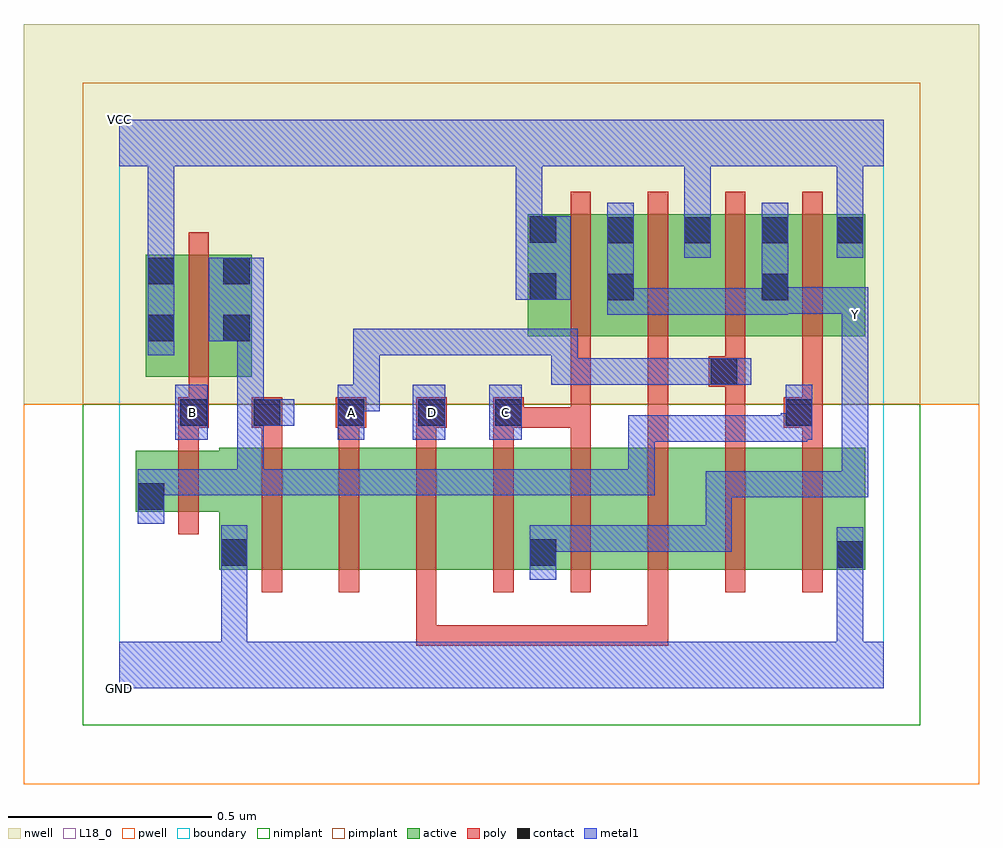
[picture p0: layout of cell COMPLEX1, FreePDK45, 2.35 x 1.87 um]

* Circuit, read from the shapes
.subckt COMPLEX1 A B C D GND VCC Y
M1 GND B n1 VSUBS nfet w=0.15u l=0.05u
M2 n2 n1 GND VSUBS nfet w=0.3u l=0.05u
M3 n3 A n2 VSUBS nfet w=0.3u l=0.05u
M4 n4 D n3 VSUBS nfet w=0.3u l=0.05u
M5 Y C n4 VSUBS nfet w=0.3u l=0.05u
M6 n5 C Y VSUBS nfet w=0.3u l=0.05u
M7 n6 D n5 VSUBS nfet w=0.3u l=0.05u
M8 n7 A n6 VSUBS nfet w=0.3u l=0.05u
M9 GND n1 n7 VSUBS nfet w=0.3u l=0.05u
M10 n1 B VCC n8 pfet w=0.3u l=0.05u
M11 Y C VCC n8 pfet w=0.3u l=0.05u
M12 VCC D Y n8 pfet w=0.3u l=0.05u
M13 Y A VCC n8 pfet w=0.3u l=0.05u
M14 VCC n1 Y n8 pfet w=0.3u l=0.05u
.ends

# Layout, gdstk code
import gdstk
lib = gdstk.Library(unit=1e-6, precision=1e-09)
def R(c, l, rs):  # rectangles x0, y0, x1, y1
    for r in rs: c.add(gdstk.rectangle(r[:2], r[2:], *l))
def A(c, l, x, y, w, h, nx, ny, dx, dy):  # array of equal rectangles
    R(c, l, [(x+i*dx, y+j*dy, x+i*dx+w, y+j*dy+h) for i in range(nx) for j in range(ny)])
active = (1, 0)
pwell = (2, 0)
nwell = (3, 0)
nimplant = (4, 0)
pimplant = (5, 0)
poly = (9, 0)
contact = (10, 0)
metal1 = (11, 0)
L18_0 = (18, 0)
boundary = (235, 0)

complex1 = lib.new_cell('COMPLEX1')
A(complex1, active, 1.005, 0.867, 0.265, 0.3, 3, 1, 0.19, 0)
R(complex1, active, [(0.245,0.292,0.47,0.592), (0.245,0.292,0.32,0.585), (0.47,0.292,0.66,0.592), (0.66,0.292,0.85,0.592), (0.85,0.292,1.08,0.592), (1.005,0.292,1.08,0.592), (1.005,0.292,1.23,0.592), (1.23,0.292,1.42,0.592), (1.42,0.292,1.61,0.592), (1.61,0.292,1.835,0.592), (1.76,0.292,1.835,0.592), (0.04,0.435,0.32,0.585), (0.04,0.435,0.115,0.585), (0.065,0.767,0.14,1.067), (0.065,0.767,0.325,1.067), (0.25,0.767,0.325,1.065), (1.005,0.867,1.08,1.167), (1.195,0.867,1.27,1.167), (1.575,0.867,1.65,1.167), (1.575,0.867,1.835,1.167), (1.76,0.867,1.835,1.165), (1.385,1.007,1.46,1.165)])
R(complex1, pwell, [(-0.235,-0.235,2.115,0.7)])
R(complex1, nwell, [(-0.235,0.7,2.115,1.635)])
R(complex1, nimplant, [(-0.09,-0.09,1.97,0.7)])
R(complex1, pimplant, [(-0.09,0.7,1.97,1.49)])
A(complex1, poly, 0.35, 0.237, 0.05, 0.41, 8, 1, 0.19, 0)
A(complex1, poly, 0.35, 0.597, 0.05, 0.095, 6, 1, 0.19, 0)
A(complex1, poly, 1.11, 0.812, 0.05, 0.41, 4, 1, 0.19, 0)
R(complex1, poly, [(0.73,0.105,0.78,0.155), (0.73,0.105,0.78,0.287), (0.73,0.105,1.027,0.155), (0.977,0.105,1.027,0.155), (0.977,0.105,1.027,0.155), (0.977,0.105,1.027,0.155), (0.977,0.105,1.16,0.155), (1.11,0.105,1.16,0.155), (1.11,0.105,1.16,0.155), (1.11,0.105,1.16,0.155), (1.11,0.105,1.35,0.155), (1.3,0.105,1.35,0.155), (1.3,0.105,1.35,0.155), (1.3,0.105,1.35,0.155), (1.3,0.105,1.35,0.287), (0.145,0.38,0.195,0.64), (0.145,0.59,0.195,0.692), (1.49,0.597,1.54,0.792), (1.68,0.597,1.73,0.692), (0.145,0.642,0.22,0.717), (0.325,0.642,0.4,0.717), (0.532,0.642,0.607,0.717), (0.73,0.642,0.805,0.717), (0.92,0.642,0.995,0.717), (0.945,0.642,1.16,0.692), (1.11,0.642,1.16,0.862), (1.11,0.642,1.16,0.692), (1.11,0.642,1.16,0.692), (1.11,0.642,1.16,0.692), (1.3,0.642,1.35,0.862), (1.3,0.642,1.35,0.692), (1.635,0.642,1.73,0.717), (0.17,0.667,0.22,0.762), (1.68,0.667,1.73,0.862), (0.17,0.712,0.22,1.122), (1.45,0.742,1.54,0.817), (1.49,0.767,1.54,0.862)])
A(complex1, contact, 1.2, 1.095, 0.065, 0.065, 3, 1, 0.19, 0)
R(complex1, contact, [(1.765,0.297,1.83,0.362), (0.25,0.302,0.315,0.367), (1.01,0.302,1.075,0.367), (0.045,0.44,0.11,0.505), (0.15,0.647,0.215,0.712), (0.33,0.647,0.395,0.712), (0.537,0.647,0.602,0.712), (0.735,0.647,0.8,0.712), (0.925,0.647,0.99,0.712), (1.64,0.647,1.705,0.712), (1.455,0.747,1.52,0.812), (0.07,0.855,0.135,0.92), (0.255,0.855,0.32,0.92), (1.2,0.955,1.265,1.02), (1.58,0.955,1.645,1.02), (1.01,0.957,1.075,1.022), (0.07,0.995,0.135,1.06), (0.255,0.995,0.32,1.06), (1.765,1.095,1.83,1.16), (1.01,1.097,1.075,1.162)])
R(complex1, metal1, [(0,0,1.88,0.115), (0.25,0.05,0.315,0.115), (0.25,0.05,0.315,0.115), (0.25,0.05,0.315,0.332), (1.765,0.05,1.83,0.115), (1.765,0.05,1.83,0.115), (1.765,0.05,1.83,0.327), (1.765,0.262,1.83,0.327), (1.765,0.262,1.83,0.327), (1.765,0.262,1.83,0.397), (0.25,0.267,0.315,0.332), (0.25,0.267,0.315,0.332), (0.25,0.267,0.315,0.402), (1.01,0.267,1.075,0.402), (1.01,0.337,1.127,0.402), (1.062,0.337,1.127,0.402), (1.062,0.337,1.317,0.402), (1.252,0.337,1.317,0.402), (1.252,0.337,1.317,0.402), (1.252,0.337,1.317,0.402), (1.252,0.337,1.507,0.402), (1.442,0.337,1.507,0.402), (1.442,0.337,1.507,0.402), (1.442,0.337,1.507,0.535), (0.045,0.405,0.11,0.54), (1.442,0.47,1.692,0.535), (1.627,0.47,1.692,0.535), (1.627,0.47,1.692,0.535), (1.627,0.47,1.692,0.535), (1.627,0.47,1.842,0.535), (1.777,0.47,1.842,0.535), (1.777,0.47,1.842,0.535), (1.777,0.47,1.842,0.535), (1.777,0.47,1.842,0.917), (0.045,0.475,0.11,0.54), (0.045,0.475,0.11,0.54), (0.045,0.475,0.355,0.54), (0.29,0.475,0.355,0.54), (0.29,0.475,0.355,0.54), (0.29,0.475,0.355,0.54), (0.29,0.475,0.502,0.54), (0.29,0.475,0.355,0.712), (0.437,0.475,0.502,0.54), (0.437,0.475,0.502,0.54), (0.437,0.475,0.502,0.54), (0.437,0.475,0.74,0.54), (0.675,0.475,0.74,0.54), (0.675,0.475,0.74,0.54), (0.675,0.475,0.74,0.54), (0.675,0.475,0.902,0.54), (0.837,0.475,0.902,0.54), (0.837,0.475,0.902,0.54), (0.837,0.475,0.902,0.54), (0.837,0.475,1.127,0.54), (1.062,0.475,1.127,0.54), (1.062,0.475,1.127,0.54), (1.062,0.475,1.127,0.54), (1.062,0.475,1.317,0.54), (1.252,0.475,1.317,0.54), (1.252,0.475,1.317,0.54), (1.252,0.475,1.317,0.672), (1.252,0.607,1.507,0.672), (1.442,0.607,1.507,0.672), (1.442,0.607,1.507,0.672), (1.442,0.607,1.507,0.672), (1.442,0.607,1.692,0.672), (1.627,0.607,1.692,0.672), (1.627,0.607,1.692,0.677), (0.137,0.612,0.217,0.747), (0.537,0.612,0.602,0.747), (0.722,0.612,0.802,0.747), (0.91,0.612,0.99,0.747), (1.627,0.612,1.692,0.677), (1.627,0.612,1.705,0.677), (1.64,0.612,1.705,0.747), (0.29,0.647,0.355,0.712), (0.29,0.647,0.36,0.712), (0.29,0.647,0.355,0.92), (0.295,0.647,0.43,0.712), (0.537,0.682,0.64,0.747), (0.575,0.682,0.64,0.747), (0.575,0.682,0.64,0.885), (1.062,0.747,1.127,0.812), (1.062,0.747,1.127,0.812), (1.062,0.747,1.127,0.812), (1.062,0.747,1.317,0.812), (1.062,0.747,1.127,0.885), (1.252,0.747,1.317,0.812), (1.252,0.747,1.317,0.812), (1.252,0.747,1.317,0.812), (1.252,0.747,1.485,0.812), (1.42,0.747,1.485,0.812), (1.42,0.747,1.485,0.812), (1.42,0.747,1.555,0.812), (0.07,0.82,0.135,1.095), (0.575,0.82,0.64,0.885), (0.575,0.82,0.74,0.885), (0.675,0.82,0.74,0.885), (0.675,0.82,0.902,0.885), (0.837,0.82,0.902,0.885), (0.837,0.82,0.902,0.885), (0.837,0.82,0.902,0.885), (0.837,0.82,1.127,0.885), (1.062,0.82,1.127,0.885), (1.777,0.852,1.842,0.987), (0.22,0.855,0.355,1.06), (1.2,0.92,1.265,0.985), (1.2,0.92,1.265,0.985), (1.2,0.92,1.455,0.985), (1.2,0.92,1.265,1.195), (1.39,0.92,1.455,0.985), (1.39,0.92,1.455,0.985), (1.39,0.92,1.455,0.985), (1.39,0.92,1.645,0.985), (1.58,0.92,1.645,1.195), (1.58,0.922,1.842,0.987), (1.777,0.922,1.842,0.987), (1.777,0.922,1.842,0.987), (1.777,0.922,1.842,0.987), (1.777,0.922,1.842,0.987), (0.975,0.957,1.11,1.162), (0.07,1.03,0.135,1.35), (1.39,1.06,1.455,1.195), (1.765,1.06,1.83,1.195), (0.975,1.097,1.04,1.162), (0.975,1.097,1.04,1.162), (0.975,1.097,1.04,1.35), (1.39,1.13,1.455,1.35), (1.39,1.13,1.455,1.195), (1.39,1.13,1.455,1.195), (1.765,1.13,1.83,1.35), (0,1.285,1.88,1.4), (0.07,1.285,0.135,1.35), (0.07,1.285,0.135,1.35), (1.765,1.285,1.83,1.35), (1.765,1.285,1.83,1.35)])
R(complex1, L18_0, [(0,0,1.88,0.115), (0.25,0.05,0.315,0.115), (0.25,0.05,0.315,0.115), (0.25,0.05,0.315,0.332), (1.765,0.05,1.83,0.115), (1.765,0.05,1.83,0.115), (1.765,0.05,1.83,0.327), (1.765,0.262,1.83,0.327), (1.765,0.262,1.83,0.327), (1.765,0.262,1.83,0.397), (0.25,0.267,0.315,0.332), (0.25,0.267,0.315,0.332), (0.25,0.267,0.315,0.402), (1.01,0.267,1.075,0.402), (1.01,0.337,1.127,0.402), (1.062,0.337,1.127,0.402), (1.062,0.337,1.317,0.402), (1.252,0.337,1.317,0.402), (1.252,0.337,1.317,0.402), (1.252,0.337,1.317,0.402), (1.252,0.337,1.507,0.402), (1.442,0.337,1.507,0.402), (1.442,0.337,1.507,0.402), (1.442,0.337,1.507,0.535), (1.442,0.47,1.692,0.535), (1.627,0.47,1.692,0.535), (1.627,0.47,1.692,0.535), (1.627,0.47,1.692,0.535), (1.627,0.47,1.842,0.535), (1.777,0.47,1.842,0.535), (1.777,0.47,1.842,0.535), (1.777,0.47,1.842,0.535), (1.777,0.47,1.842,0.917), (0.137,0.612,0.217,0.747), (0.537,0.612,0.602,0.747), (0.722,0.612,0.802,0.747), (0.91,0.612,0.99,0.747), (0.147,0.647,0.212,0.712), (0.537,0.647,0.602,0.712), (0.737,0.647,0.802,0.712), (0.917,0.647,0.982,0.712), (0.537,0.682,0.64,0.747), (0.575,0.682,0.64,0.747), (0.575,0.682,0.64,0.885), (1.062,0.747,1.127,0.812), (1.062,0.747,1.127,0.812), (1.062,0.747,1.127,0.812), (1.062,0.747,1.127,0.885), (1.062,0.747,1.317,0.812), (1.252,0.747,1.317,0.812), (1.252,0.747,1.317,0.812), (1.252,0.747,1.317,0.812), (1.252,0.747,1.485,0.812), (1.42,0.747,1.485,0.812), (1.42,0.747,1.485,0.812), (1.42,0.747,1.555,0.812), (0.07,0.82,0.135,1.095), (0.575,0.82,0.64,0.885), (0.575,0.82,0.74,0.885), (0.675,0.82,0.74,0.885), (0.675,0.82,0.902,0.885), (0.837,0.82,0.902,0.885), (0.837,0.82,0.902,0.885), (0.837,0.82,0.902,0.885), (0.837,0.82,1.127,0.885), (1.062,0.82,1.127,0.885), (1.777,0.852,1.842,0.987), (1.777,0.887,1.842,0.952), (1.2,0.92,1.265,1.195), (1.2,0.92,1.265,0.985), (1.2,0.92,1.265,0.985), (1.2,0.92,1.455,0.985), (1.39,0.92,1.455,0.985), (1.39,0.92,1.455,0.985), (1.39,0.92,1.455,0.985), (1.39,0.92,1.645,0.985), (1.58,0.92,1.645,1.195), (1.58,0.922,1.842,0.987), (1.777,0.922,1.842,0.987), (1.777,0.922,1.842,0.987), (1.777,0.922,1.842,0.987), (1.777,0.922,1.842,0.987), (0.975,0.957,1.11,1.162), (0.07,1.03,0.135,1.35), (1.39,1.06,1.455,1.195), (1.765,1.06,1.83,1.195), (0.975,1.097,1.04,1.162), (0.975,1.097,1.04,1.162), (0.975,1.097,1.04,1.35), (1.39,1.13,1.455,1.195), (1.39,1.13,1.455,1.195), (1.39,1.13,1.455,1.35), (1.765,1.13,1.83,1.35), (0,1.285,1.88,1.4), (0.07,1.285,0.135,1.35), (0.07,1.285,0.135,1.35), (1.765,1.285,1.83,1.35), (1.765,1.285,1.83,1.35)])
R(complex1, boundary, [(0,0,1.88,1.4)])
complex1.add(gdstk.Label('A', (0.57,0.68), layer=11, texttype=0))
complex1.add(gdstk.Label('B', (0.18,0.68), layer=11, texttype=0))
complex1.add(gdstk.Label('C', (0.95,0.68), layer=11, texttype=0))
complex1.add(gdstk.Label('D', (0.77,0.68), layer=11, texttype=0))
complex1.add(gdstk.Label('Y', (1.81,0.92), layer=11, texttype=0))
complex1.add(gdstk.Label('VCC', (0,1.4), layer=11, texttype=0))
complex1.add(gdstk.Label('GND', (0,0), layer=11, texttype=0))

lib.write_gds('COMPLEX1.gds')
